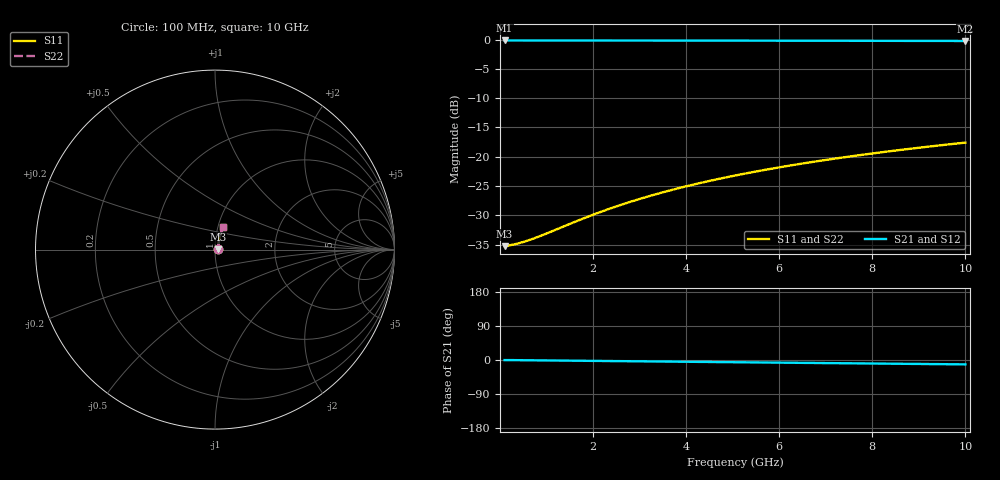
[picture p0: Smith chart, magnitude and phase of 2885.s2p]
# Hz S RI R 50.00
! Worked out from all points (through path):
!   100 points, 100 MHz to 10 GHz, reference 50 ohm
!   highest |S21| = -0.15 dB at 100 MHz (marker M1); lowest = -0.2 dB at 10 GHz (marker M2)
!   group delay of S21, straight-line fit = 3.21 ps
!   lowest |S11| = -35.3 dB at 100 MHz (marker M3), VSWR 1.04, Z = 51.8 + j0.134 ohm
!   |S11| at or under -10 dB: start of sweep to end of sweep
!   |S22| runs from -35.3 to -17.6 dB; largest |S21 - S12| = 0
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1e8  0.0172 0.00129  0.9828 -0.002  0.9828 -0.002  0.0172 0.00129
3e8  0.0174 0.00387  0.9826 -0.00598  0.9826 -0.00598  0.0174 0.00387
4e8  0.0175 0.00516  0.9825 -0.00798  0.9825 -0.00798  0.0175 0.00516
5e8  0.0176 0.00645  0.9824 -0.00997  0.9824 -0.00997  0.0176 0.00645
7e8  0.0177 0.00902  0.9822 -0.014  0.9822 -0.014  0.0177 0.00902
1e9  0.018 0.0129  0.982 -0.0199  0.982 -0.0199  0.018 0.0129
1.8e9  0.0188 0.0232  0.9811 -0.0358  0.9811 -0.0358  0.0188 0.0232
2.2e9  0.0193 0.0283  0.9806 -0.0438  0.9806 -0.0438  0.0193 0.0283
2.6e9  0.0199 0.0334  0.9799 -0.0517  0.9799 -0.0517  0.0199 0.0334
3e9  0.0205 0.0385  0.9792 -0.0597  0.9792 -0.0597  0.0205 0.0385
3.4e9  0.0212 0.0436  0.9784 -0.0676  0.9784 -0.0676  0.0212 0.0436
3.8e9  0.0221 0.0487  0.9776 -0.0755  0.9776 -0.0755  0.0221 0.0487
4.2e9  0.0229 0.0537  0.9766 -0.0833  0.9766 -0.0833  0.0229 0.0537
4.6e9  0.0239 0.0588  0.9755 -0.0912  0.9755 -0.0912  0.0239 0.0588
5.1e9  0.0252 0.065  0.9741 -0.101  0.9741 -0.101  0.0252 0.065
5.5e9  0.0264 0.07  0.9729 -0.1088  0.9729 -0.1088  0.0264 0.07
5.9e9  0.0276 0.075  0.9715 -0.1166  0.9715 -0.1166  0.0276 0.075
6.7e9  0.0302 0.0849  0.9686 -0.1321  0.9686 -0.1321  0.0302 0.0849
7.5e9  0.0332 0.0946  0.9653 -0.1475  0.9653 -0.1475  0.0332 0.0946
8.4e9  0.037 0.1055  0.9612 -0.1647  0.9612 -0.1647  0.037 0.1055
9.2e9  0.0406 0.115  0.9572 -0.1799  0.9572 -0.1799  0.0406 0.115
1e10  0.0445 0.1243  0.9529 -0.1949  0.9529 -0.1949  0.0445 0.1243
